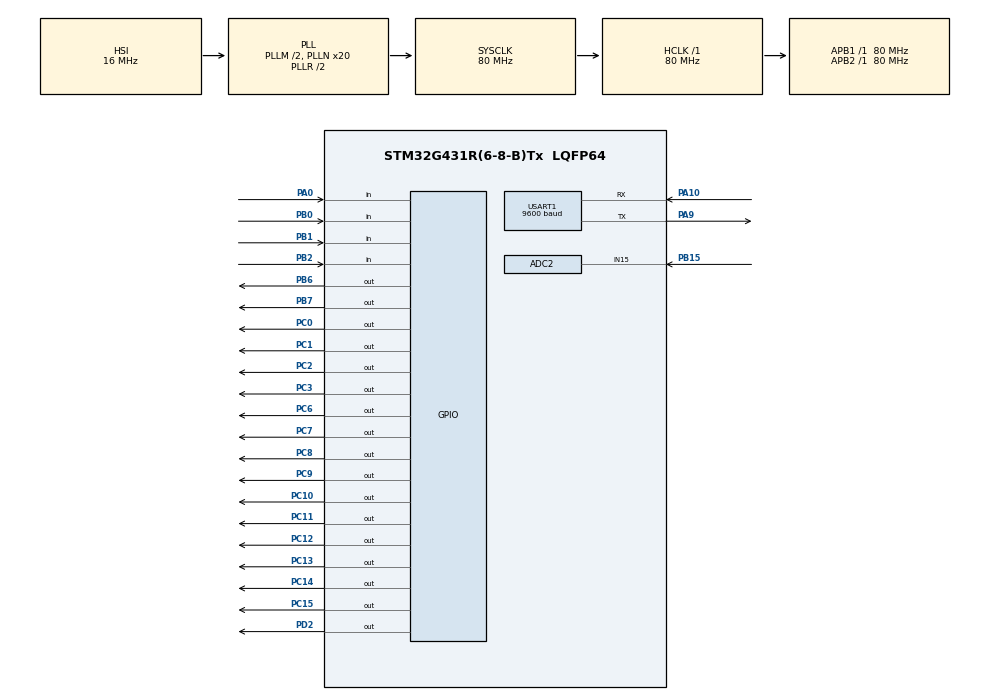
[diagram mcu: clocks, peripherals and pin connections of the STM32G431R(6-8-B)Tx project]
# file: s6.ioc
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ADC2.Channel-0\#ChannelRegularConversion=ADC_CHANNEL_15
ADC2.NbrOfConversionFlag=1
ADC2.OffsetNumber-0\#ChannelRegularConversion=ADC_OFFSET_NONE
ADC2.Rank-0\#ChannelRegularConversion=1
ADC2.SamplingTime-0\#ChannelRegularConversion=ADC_SAMPLETIME_2CYCLES_5
Mcu.Family=STM32G4
Mcu.Name=STM32G431R(6-8-B)Tx
Mcu.Package=LQFP64
NVIC.ADC1_2_IRQn=true\:1\:0\:true\:false\:true\:true\:true
NVIC.PriorityGroup=NVIC_PRIORITYGROUP_4
NVIC.TIM3_IRQn=true\:0\:0\:false\:false\:true\:true\:true
NVIC.USART1_IRQn=true\:1\:0\:true\:false\:true\:true\:true
PA0.GPIO_PuPd=GPIO_PULLUP
PA0.Signal=GPIO_Input
PA10.Mode=Asynchronous
PA10.Signal=USART1_RX
PA9.Mode=Asynchronous
PA9.Signal=USART1_TX
PB0.GPIO_PuPd=GPIO_PULLUP
PB0.Signal=GPIO_Input
PB1.GPIO_PuPd=GPIO_PULLUP
PB1.Signal=GPIO_Input
PB15.Mode=IN15-Single-Ended
PB15.Signal=ADC2_IN15
PB2.GPIO_PuPd=GPIO_PULLUP
PB2.Signal=GPIO_Input
PB6.GPIO_Speed=GPIO_SPEED_FREQ_HIGH
PB6.PinState=GPIO_PIN_SET
PB6.Signal=GPIO_Output
PB7.GPIO_Speed=GPIO_SPEED_FREQ_HIGH
PB7.PinState=GPIO_PIN_SET
PB7.Signal=GPIO_Output
PC0.Signal=GPIO_Output
PC1.Signal=GPIO_Output
PC10.Signal=GPIO_Output
PC11.Signal=GPIO_Output
PC12.Signal=GPIO_Output
PC13.Signal=GPIO_Output
PC14-OSC32_IN.Signal=GPIO_Output
PC15-OSC32_OUT.Signal=GPIO_Output
PC2.Signal=GPIO_Output
PC3.Signal=GPIO_Output
PC6.Signal=GPIO_Output
PC7.Signal=GPIO_Output
PC8.Signal=GPIO_Output
PC9.Signal=GPIO_Output
PD2.Signal=GPIO_Output
ProjectManager.HeapSize=0x200
ProjectManager.StackSize=0x400
ProjectManager.TargetToolchain=MDK-ARM V5.32
RCC.ADC12Freq_Value=80000000
RCC.AHBFreq_Value=80000000
RCC.APB1Freq_Value=80000000
RCC.APB1TimFreq_Value=80000000
RCC.APB2Freq_Value=80000000
RCC.APB2TimFreq_Value=80000000
RCC.CortexFreq_Value=80000000
RCC.EXTERNAL_CLOCK_VALUE=12288000
RCC.HCLKFreq_Value=80000000
RCC.HSE_VALUE=8000000
RCC.HSI48_VALUE=48000000
RCC.HSI_VALUE=16000000
RCC.LSE_VALUE=32768
RCC.PLLM=RCC_PLLM_DIV2
RCC.PLLN=20
RCC.SYSCLKFreq_VALUE=80000000
RCC.SYSCLKSource=RCC_SYSCLKSOURCE_PLLCLK
RCC.USBFreq_Value=80000000
RCC.VCOOutputFreq_Value=160000000
RTC.Hours=23
RTC.Minutes=59
RTC.Seconds=55
TIM3.PeriodNoDither=80-1
TIM3.Prescaler=1000
USART1.BaudRate=9600
USART1.VirtualMode-Asynchronous=VM_ASYNC
VP_RTC_VS_RTC_Activate.Mode=RTC_Enabled
VP_RTC_VS_RTC_Calendar.Mode=RTC_Calendar
VP_SYS_VS_DBSignals.Mode=DisableDeadBatterySignals
VP_TIM3_VS_ClockSourceINT.Mode=Internal
board=custom

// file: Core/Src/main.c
/* USER CODE BEGIN Header */
/**
  ******************************************************************************
  * @file           : main.c
  * @brief          : Main program body
  ******************************************************************************
  * @attention
  *
  * Copyright (c) 2022 STMicroelectronics.
  * All rights reserved.
  *
  * This software is licensed under terms that can be found in the LICENSE file
  * in the root directory of this software component.
  * If no LICENSE file comes with this software, it is provided AS-IS.
  *
  ******************************************************************************
  */
/* USER CODE END Header */
#include "main.h"

/* USER CODE BEGIN Includes */
#include "stdio.h"
#include "string.h"
#include "lcd.h"
#include "i2c.h"
/* USER CODE END Includes */

ADC_HandleTypeDef hadc2;

RTC_HandleTypeDef hrtc;

TIM_HandleTypeDef htim3;

UART_HandleTypeDef huart1;

/* USER CODE BEGIN PV */
short led_flag = 1,menu_index = 0,time_index = 0,uart_flag = 0,led_key_flag = 0,key_flag = 0,led_light = 1;
uint8_t key_val = 0;
float adc_val = 0,k = 0.1,old_adc_val = 0;
char Rxbuff[255];
char TextBuff[21];
char h = 0,f = 0,m = 0,hp = 0,fp = 0,mp = 0;
RTC_TimeTypeDef T;
RTC_DateTypeDef D;
/* USER CODE END PV */

void SystemClock_Config(void);
static void MX_GPIO_Init(void);
static void MX_ADC2_Init(void);
static void MX_RTC_Init(void);
static void MX_TIM3_Init(void);
static void MX_USART1_UART_Init(void);

/* USER CODE BEGIN 0 */
/* KEY */
#define KEY1 HAL_GPIO_ReadPin(GPIOB,GPIO_PIN_0)
#define KEY2 HAL_GPIO_ReadPin(GPIOB,GPIO_PIN_1)
#define KEY3 HAL_GPIO_ReadPin(GPIOB,GPIO_PIN_2)
#define KEY4 HAL_GPIO_ReadPin(GPIOA,GPIO_PIN_0)

uint8_t key_scanf(void)
{
	static uint8_t key_state;
	uint8_t key_press = 0;

	if(KEY1 && KEY2 && KEY3 && KEY4) key_state = 0;

	switch(key_state)
	{
		case 0:
			if(KEY1 && KEY2 && KEY3 && KEY4) key_state = 0;
		  else key_state = 1;
			break;
		case 1:
			if(KEY1 && KEY2 && KEY3 && KEY4) key_state = 0;
		  else{
				if(KEY1 == 0) key_press = 1;
				else if(KEY2 == 0) key_press = 2;
				else if(KEY3 == 0) key_press = 3;
				else if(KEY4 == 0) key_press = 4;

				key_state = 2;
			}
			break;
		case 2:
			if(KEY1 && KEY2 && KEY3 && KEY4) key_state = 0;
			break;
	}

	return key_press;
}

/* ADC */
void get_adc(void)
{
	uint16_t temp;

	HAL_ADC_Start(&hadc2);
	temp = HAL_ADC_GetValue(&hadc2);
	HAL_ADC_Stop(&hadc2);

	adc_val = temp * 3.3 / 4096;
}

void adc_pd(void)
{
	if(led_key_flag == 0)
	{
		if(old_adc_val > 3.3f * k) led_flag = 1;
		else led_flag = 0;
	}
	if((int)(old_adc_val*100) != (int)(adc_val*100))
	{
		old_adc_val = adc_val;
		led_key_flag = 0;
	}

}

/* E2PROM */
uint8_t i2c_read(uint8_t add)
{
	uint8_t val;

	I2CStart();
	I2CSendByte(0xa0);
	I2CWaitAck();

	I2CSendByte(add);
	I2CWaitAck();

	I2CStart();
	I2CSendByte(0xa1);
	I2CWaitAck();

	val = I2CReceiveByte();
	I2CWaitAck();

	I2CStop();

	return val;
}

void i2c_write(uint8_t add,uint8_t val)
{
	I2CStart();
	I2CSendByte(0xa0);
	I2CWaitAck();

	I2CSendByte(add);
	I2CWaitAck();

	I2CSendByte(val);
	I2CWaitAck();

	I2CStop();
}

/* 串口 */
//重定义printf
int fputc(int ch,FILE* f)
{
	HAL_UART_Transmit(&huart1,(uint8_t*)&ch,1,1000);
  return ch;
}

void uart_func(void)
{
	if(Rxbuff[0] == 'k' && Rxbuff[2] == '.' && (Rxbuff[1] >= '0' && Rxbuff[1] <= '9') && (Rxbuff[3] >= '0' && Rxbuff[3] <= '9')){
	  k = (Rxbuff[3] - '0') / 10.0;//除数必须是float型或者double型，让其进行隐式强制类型转换
	  i2c_write(0,k * 10);
	  printf("ok\n");
	memset(Rxbuff,0,sizeof(Rxbuff));//清零 避免发送多次
	}
}

/* LED */
void led_func(void)
{
	if(led_flag == 1){
		if(led_light == 1){ led_light = 0;HAL_GPIO_WritePin(GPIOC,GPIO_PIN_8,GPIO_PIN_RESET);}
		else HAL_GPIO_WritePin(GPIOC,GPIO_PIN_8,GPIO_PIN_SET);

	}else{
		HAL_GPIO_WritePin(GPIOC,GPIO_PIN_8,GPIO_PIN_SET);
	}
	HAL_GPIO_WritePin(GPIOD,GPIO_PIN_2,GPIO_PIN_SET);
	HAL_GPIO_WritePin(GPIOD,GPIO_PIN_2,GPIO_PIN_RESET);

}

/* 界面 */
void MenuDisplay()
{

	if(menu_index == 0){
		LCD_DisplayStringLine(Line0,(uint8_t*)"                    ");
		LCD_DisplayStringLine(Line1,(uint8_t*)"                    ");
		LCD_DisplayStringLine(Line2,(uint8_t*)"                    ");
		sprintf(TextBuff,"    V1:%.2fV         ",adc_val);
		LCD_DisplayStringLine(Line3,(uint8_t*)TextBuff);
		sprintf(TextBuff,"    k:%.1f            ",k);
		LCD_DisplayStringLine(Line4,(uint8_t*)TextBuff);

		if(led_flag == 0){
			sprintf(TextBuff,"    LED:OFF         ");
		}else{
			sprintf(TextBuff,"    LED:ON          ");
		}
		LCD_DisplayStringLine(Line5,(uint8_t*)TextBuff);
		sprintf(TextBuff,"    T:%02d-%02d-%02d         ",T.Hours,T.Minutes,T.Seconds);
		LCD_DisplayStringLine(Line6,(uint8_t*)TextBuff);
		LCD_DisplayStringLine(Line7,(uint8_t*)"                    ");
		LCD_DisplayStringLine(Line8,(uint8_t*)"                    ");
		LCD_DisplayStringLine(Line9,(uint8_t*)"                  1 ");

	}else{
		LCD_DisplayStringLine(Line0,(uint8_t*)"                    ");
		LCD_DisplayStringLine(Line1,(uint8_t*)"                    ");
		LCD_DisplayStringLine(Line2,(uint8_t*)"                    ");
		sprintf(TextBuff,"      Setting            ");
		LCD_DisplayStringLine(Line3,(uint8_t*)TextBuff);
		LCD_DisplayStringLine(Line4,(uint8_t*)"                    ");
		sprintf(TextBuff,"    %02d-%02d-%02d         ",h,f,m);
		LCD_DisplayStringLine(Line5,(uint8_t*)TextBuff);
		LCD_DisplayStringLine(Line6,(uint8_t*)"                    ");
		LCD_DisplayStringLine(Line7,(uint8_t*)"                    ");
		LCD_DisplayStringLine(Line8,(uint8_t*)"                    ");
		LCD_DisplayStringLine(Line9,(uint8_t*)"                  2 ");

	}
}
/* USER CODE END 0 */

int main(void)
{

  /* MCU Configuration--------------------------------------------------------*/

  /* Reset of all peripherals, Initializes the Flash interface and the Systick. */
  HAL_Init();

  /* Configure the system clock */
  SystemClock_Config();

  /* Initialize all configured peripherals */
  MX_GPIO_Init();
  MX_ADC2_Init();
  MX_RTC_Init();
  MX_TIM3_Init();
  MX_USART1_UART_Init();
  /* USER CODE BEGIN 2 */
	LCD_Init();
	LCD_Clear(White);

	LCD_SetBackColor(White);
	LCD_SetTextColor(Black);

	GPIOC -> ODR = ~0x00ff;
	HAL_GPIO_WritePin(GPIOD,GPIO_PIN_2,GPIO_PIN_SET);
	HAL_GPIO_WritePin(GPIOD,GPIO_PIN_2,GPIO_PIN_RESET);
	old_adc_val = adc_val;
  k = i2c_read(0) / 10.0; //读取k值
  /* USER CODE END 2 */

  /* Infinite loop */
  while (1)
  {
    /* USER CODE BEGIN 3 */
    if(key_flag == 1){ key_flag = 0;key_val = key_scanf();}

		if(key_val == 1){
			if(old_adc_val > 3.3f * k && led_flag == 1){
				led_flag = 0;
				led_key_flag = 1;
			}
		}
		else if(key_val == 2){
			++menu_index;
			if(menu_index == 2){
				//更新自动上报电压时间
				hp = h;
				fp = f;
				mp = m;
				time_index = 0;
			  menu_index = 0;
			}
		}
		else if(key_val == 3 && menu_index == 1){
			++time_index;
			if(time_index == 3) time_index = 0;
		}
		else if(key_val == 4 && menu_index == 1){
			if(time_index == 0){
				h++;
				if(h == 24) h = 0;
			}else if(time_index == 1){
				f++;
				if(f == 60) f = 0;
			}else if(time_index == 2){
				m++;
				if(m == 60) m = 0;
			}
		}
		if(uart_flag){
			uart_flag = 0;
			printf("%.2f+%.1f+%02d%02d%02d\n",adc_val,k,T.Hours,T.Minutes,T.Seconds);
		}
		MenuDisplay();
		adc_pd();
    uart_func();
		led_func();
//
  }
  /* USER CODE END 3 */
}

void SystemClock_Config(void)
{
  RCC_OscInitTypeDef RCC_OscInitStruct = {0};
  RCC_ClkInitTypeDef RCC_ClkInitStruct = {0};

  /** Configure the main internal regulator output voltage
  */
  HAL_PWREx_ControlVoltageScaling(PWR_REGULATOR_VOLTAGE_SCALE1);
  /** Initializes the RCC Oscillators according to the specified parameters
  * in the RCC_OscInitTypeDef structure.
  */
  RCC_OscInitStruct.OscillatorType = RCC_OSCILLATORTYPE_HSI|RCC_OSCILLATORTYPE_LSI;
  RCC_OscInitStruct.HSIState = RCC_HSI_ON;
  RCC_OscInitStruct.HSICalibrationValue = RCC_HSICALIBRATION_DEFAULT;
  RCC_OscInitStruct.LSIState = RCC_LSI_ON;
  RCC_OscInitStruct.PLL.PLLState = RCC_PLL_ON;
  RCC_OscInitStruct.PLL.PLLSource = RCC_PLLSOURCE_HSI;
  RCC_OscInitStruct.PLL.PLLM = RCC_PLLM_DIV2;
  RCC_OscInitStruct.PLL.PLLN = 20;
  RCC_OscInitStruct.PLL.PLLP = RCC_PLLP_DIV2;
  RCC_OscInitStruct.PLL.PLLQ = RCC_PLLQ_DIV2;
  RCC_OscInitStruct.PLL.PLLR = RCC_PLLR_DIV2;
  if (HAL_RCC_OscConfig(&RCC_OscInitStruct) != HAL_OK)
  {
    Error_Handler();
  }
  /** Initializes the CPU, AHB and APB buses clocks
  */
  RCC_ClkInitStruct.ClockType = RCC_CLOCKTYPE_HCLK|RCC_CLOCKTYPE_SYSCLK
                              |RCC_CLOCKTYPE_PCLK1|RCC_CLOCKTYPE_PCLK2;
  RCC_ClkInitStruct.SYSCLKSource = RCC_SYSCLKSOURCE_PLLCLK;
  RCC_ClkInitStruct.AHBCLKDivider = RCC_SYSCLK_DIV1;
  RCC_ClkInitStruct.APB1CLKDivider = RCC_HCLK_DIV1;
  RCC_ClkInitStruct.APB2CLKDivider = RCC_HCLK_DIV1;

  if (HAL_RCC_ClockConfig(&RCC_ClkInitStruct, FLASH_LATENCY_2) != HAL_OK)
  {
    Error_Handler();
  }
}

static void MX_ADC2_Init(void)
{

  ADC_ChannelConfTypeDef sConfig = {0};

  /** Common config
  */
  hadc2.Instance = ADC2;
  hadc2.Init.ClockPrescaler = ADC_CLOCK_SYNC_PCLK_DIV2;
  hadc2.Init.Resolution = ADC_RESOLUTION_12B;
  hadc2.Init.DataAlign = ADC_DATAALIGN_RIGHT;
  hadc2.Init.GainCompensation = 0;
  hadc2.Init.ScanConvMode = ADC_SCAN_DISABLE;
  hadc2.Init.EOCSelection = ADC_EOC_SINGLE_CONV;
  hadc2.Init.LowPowerAutoWait = DISABLE;
  hadc2.Init.ContinuousConvMode = DISABLE;
  hadc2.Init.NbrOfConversion = 1;
  hadc2.Init.DiscontinuousConvMode = DISABLE;
  hadc2.Init.ExternalTrigConv = ADC_SOFTWARE_START;
  hadc2.Init.ExternalTrigConvEdge = ADC_EXTERNALTRIGCONVEDGE_NONE;
  hadc2.Init.DMAContinuousRequests = DISABLE;
  hadc2.Init.Overrun = ADC_OVR_DATA_PRESERVED;
  hadc2.Init.OversamplingMode = DISABLE;
  if (HAL_ADC_Init(&hadc2) != HAL_OK)
  {
    Error_Handler();
  }
  /** Configure Regular Channel
  */
  sConfig.Channel = ADC_CHANNEL_15;
  sConfig.Rank = ADC_REGULAR_RANK_1;
  sConfig.SamplingTime = ADC_SAMPLETIME_2CYCLES_5;
  sConfig.SingleDiff = ADC_SINGLE_ENDED;
  sConfig.OffsetNumber = ADC_OFFSET_NONE;
  sConfig.Offset = 0;
  if (HAL_ADC_ConfigChannel(&hadc2, &sConfig) != HAL_OK)
  {
    Error_Handler();
  }
  /* USER CODE BEGIN ADC2_Init 2 */
  HAL_ADC_Start_IT(&hadc2);
  /* USER CODE END ADC2_Init 2 */

}

static void MX_RTC_Init(void)
{

  RTC_TimeTypeDef sTime = {0};
  RTC_DateTypeDef sDate = {0};

  /** Initialize RTC Only
  */
  hrtc.Instance = RTC;
  hrtc.Init.HourFormat = RTC_HOURFORMAT_24;
  hrtc.Init.AsynchPrediv = 127;
  hrtc.Init.SynchPrediv = 255;
  hrtc.Init.OutPut = RTC_OUTPUT_DISABLE;
  hrtc.Init.OutPutRemap = RTC_OUTPUT_REMAP_NONE;
  hrtc.Init.OutPutPolarity = RTC_OUTPUT_POLARITY_HIGH;
  hrtc.Init.OutPutType = RTC_OUTPUT_TYPE_OPENDRAIN;
  hrtc.Init.OutPutPullUp = RTC_OUTPUT_PULLUP_NONE;
  if (HAL_RTC_Init(&hrtc) != HAL_OK)
  {
    Error_Handler();
  }

  /** Initialize RTC and set the Time and Date
  */
  sTime.Hours = 0x23;
  sTime.Minutes = 0x59;
  sTime.Seconds = 0x55;
  sTime.SubSeconds = 0x0;
  sTime.DayLightSaving = RTC_DAYLIGHTSAVING_NONE;
  sTime.StoreOperation = RTC_STOREOPERATION_RESET;
  if (HAL_RTC_SetTime(&hrtc, &sTime, RTC_FORMAT_BCD) != HAL_OK)
  {
    Error_Handler();
  }
  sDate.WeekDay = RTC_WEEKDAY_MONDAY;
  sDate.Month = RTC_MONTH_JANUARY;
  sDate.Date = 0x1;
  sDate.Year = 0x0;

  if (HAL_RTC_SetDate(&hrtc, &sDate, RTC_FORMAT_BCD) != HAL_OK)
  {
    Error_Handler();
  }

}

static void MX_TIM3_Init(void)
{

  TIM_ClockConfigTypeDef sClockSourceConfig = {0};
  TIM_MasterConfigTypeDef sMasterConfig = {0};

  htim3.Instance = TIM3;
  htim3.Init.Prescaler = 1000;
  htim3.Init.CounterMode = TIM_COUNTERMODE_UP;
  htim3.Init.Period = 79;
  htim3.Init.ClockDivision = TIM_CLOCKDIVISION_DIV1;
  htim3.Init.AutoReloadPreload = TIM_AUTORELOAD_PRELOAD_DISABLE;
  if (HAL_TIM_Base_Init(&htim3) != HAL_OK)
  {
    Error_Handler();
  }
  sClockSourceConfig.ClockSource = TIM_CLOCKSOURCE_INTERNAL;
  if (HAL_TIM_ConfigClockSource(&htim3, &sClockSourceConfig) != HAL_OK)
  {
    Error_Handler();
  }
  sMasterConfig.MasterOutputTrigger = TIM_TRGO_RESET;
  sMasterConfig.MasterSlaveMode = TIM_MASTERSLAVEMODE_DISABLE;
  if (HAL_TIMEx_MasterConfigSynchronization(&htim3, &sMasterConfig) != HAL_OK)
  {
    Error_Handler();
  }
  /* USER CODE BEGIN TIM3_Init 2 */
  HAL_TIM_Base_Start_IT(&htim3);
  /* USER CODE END TIM3_Init 2 */

}

static void MX_USART1_UART_Init(void)
{

  huart1.Instance = USART1;
  huart1.Init.BaudRate = 9600;
  huart1.Init.WordLength = UART_WORDLENGTH_8B;
  huart1.Init.StopBits = UART_STOPBITS_1;
  huart1.Init.Parity = UART_PARITY_NONE;
  huart1.Init.Mode = UART_MODE_TX_RX;
  huart1.Init.HwFlowCtl = UART_HWCONTROL_NONE;
  huart1.Init.OverSampling = UART_OVERSAMPLING_16;
  huart1.Init.OneBitSampling = UART_ONE_BIT_SAMPLE_DISABLE;
  huart1.Init.ClockPrescaler = UART_PRESCALER_DIV1;
  huart1.AdvancedInit.AdvFeatureInit = UART_ADVFEATURE_NO_INIT;
  if (HAL_UART_Init(&huart1) != HAL_OK)
  {
    Error_Handler();
  }
  if (HAL_UARTEx_SetTxFifoThreshold(&huart1, UART_TXFIFO_THRESHOLD_1_8) != HAL_OK)
  {
    Error_Handler();
  }
  if (HAL_UARTEx_SetRxFifoThreshold(&huart1, UART_RXFIFO_THRESHOLD_1_8) != HAL_OK)
  {
    Error_Handler();
  }
  if (HAL_UARTEx_DisableFifoMode(&huart1) != HAL_OK)
  {
    Error_Handler();
  }
  /* USER CODE BEGIN USART1_Init 2 */
  __HAL_UART_ENABLE_IT(&huart1,UART_IT_RXNE);
  /* USER CODE END USART1_Init 2 */

}

static void MX_GPIO_Init(void)
{
  GPIO_InitTypeDef GPIO_InitStruct = {0};

  /* GPIO Ports Clock Enable */
  __HAL_RCC_GPIOC_CLK_ENABLE();
  __HAL_RCC_GPIOA_CLK_ENABLE();
  __HAL_RCC_GPIOB_CLK_ENABLE();
  __HAL_RCC_GPIOD_CLK_ENABLE();

  /*Configure GPIO pin Output Level */
  HAL_GPIO_WritePin(GPIOC, GPIO_PIN_13|GPIO_PIN_14|GPIO_PIN_15|GPIO_PIN_0
                          |GPIO_PIN_1|GPIO_PIN_2|GPIO_PIN_3|GPIO_PIN_6
                          |GPIO_PIN_7|GPIO_PIN_8|GPIO_PIN_9|GPIO_PIN_10
                          |GPIO_PIN_11|GPIO_PIN_12, GPIO_PIN_RESET);

  /*Configure GPIO pin Output Level */
  HAL_GPIO_WritePin(GPIOD, GPIO_PIN_2, GPIO_PIN_RESET);

  /*Configure GPIO pin Output Level */
  HAL_GPIO_WritePin(GPIOB, GPIO_PIN_6|GPIO_PIN_7, GPIO_PIN_SET);

  /*Configure GPIO pins : PC13 PC14 PC15 PC0
                           PC1 PC2 PC3 PC6
                           PC7 PC8 PC9 PC10
                           PC11 PC12 */
  GPIO_InitStruct.Pin = GPIO_PIN_13|GPIO_PIN_14|GPIO_PIN_15|GPIO_PIN_0
                          |GPIO_PIN_1|GPIO_PIN_2|GPIO_PIN_3|GPIO_PIN_6
                          |GPIO_PIN_7|GPIO_PIN_8|GPIO_PIN_9|GPIO_PIN_10
                          |GPIO_PIN_11|GPIO_PIN_12;
  GPIO_InitStruct.Mode = GPIO_MODE_OUTPUT_PP;
  GPIO_InitStruct.Pull = GPIO_NOPULL;
  GPIO_InitStruct.Speed = GPIO_SPEED_FREQ_LOW;
  HAL_GPIO_Init(GPIOC, &GPIO_InitStruct);

  /*Configure GPIO pin : PA0 */
  GPIO_InitStruct.Pin = GPIO_PIN_0;
  GPIO_InitStruct.Mode = GPIO_MODE_INPUT;
  GPIO_InitStruct.Pull = GPIO_PULLUP;
  HAL_GPIO_Init(GPIOA, &GPIO_InitStruct);

  /*Configure GPIO pins : PB0 PB1 PB2 */
  GPIO_InitStruct.Pin = GPIO_PIN_0|GPIO_PIN_1|GPIO_PIN_2;
  GPIO_InitStruct.Mode = GPIO_MODE_INPUT;
  GPIO_InitStruct.Pull = GPIO_PULLUP;
  HAL_GPIO_Init(GPIOB, &GPIO_InitStruct);

  /*Configure GPIO pin : PD2 */
  GPIO_InitStruct.Pin = GPIO_PIN_2;
  GPIO_InitStruct.Mode = GPIO_MODE_OUTPUT_PP;
  GPIO_InitStruct.Pull = GPIO_NOPULL;
  GPIO_InitStruct.Speed = GPIO_SPEED_FREQ_LOW;
  HAL_GPIO_Init(GPIOD, &GPIO_InitStruct);

  /*Configure GPIO pins : PB6 PB7 */
  GPIO_InitStruct.Pin = GPIO_PIN_6|GPIO_PIN_7;
  GPIO_InitStruct.Mode = GPIO_MODE_OUTPUT_PP;
  GPIO_InitStruct.Pull = GPIO_NOPULL;
  GPIO_InitStruct.Speed = GPIO_SPEED_FREQ_HIGH;
  HAL_GPIO_Init(GPIOB, &GPIO_InitStruct);

}

/* USER CODE BEGIN 4 */
void USART1_IRQHandler(UART_HandleTypeDef *huart)
{
	static uint8_t index;
	static char rxbuff[255];
	uint16_t ch = 0;

	if(__HAL_UART_GET_FLAG(&huart1,UART_FLAG_RXNE) != RESET){
		ch = (uint16_t)READ_REG(huart1.Instance -> RDR);
		rxbuff[index] = ch;

		if(rxbuff[index] == '\n'){
			rxbuff[index] = '\0';
			rxbuff[index - 1] = '\0';
			index = 0;
			strcpy(Rxbuff,rxbuff);
			memset(rxbuff,0,sizeof(rxbuff));
			return;
		}
		index++;
	}
}

void HAL_TIM_PeriodElapsedCallback(TIM_HandleTypeDef *htim)
{
	static uint8_t KEY_Cnt,second,ADC_Cnt,LED_Cnt;

	KEY_Cnt++;
	ADC_Cnt++;
	LED_Cnt++;

	if(KEY_Cnt == 10){ KEY_Cnt = 0;key_flag = 1;}
	if(ADC_Cnt == 100){ ADC_Cnt = 0;get_adc();}
	if(LED_Cnt == 200){ led_light = 1;}
	HAL_RTC_GetTime(&hrtc,&T,RTC_FORMAT_BIN);
	HAL_RTC_GetDate(&hrtc,&D,RTC_FORMAT_BIN);

	if(second != T.Seconds){
		second = T.Seconds;
		if(T.Hours == hp && T.Minutes == fp && T.Seconds == mp) uart_flag = 1;
	}

//

}
/* USER CODE END 4 */

void Error_Handler(void)
{
  __disable_irq();
  while (1)
  {
  }
}
